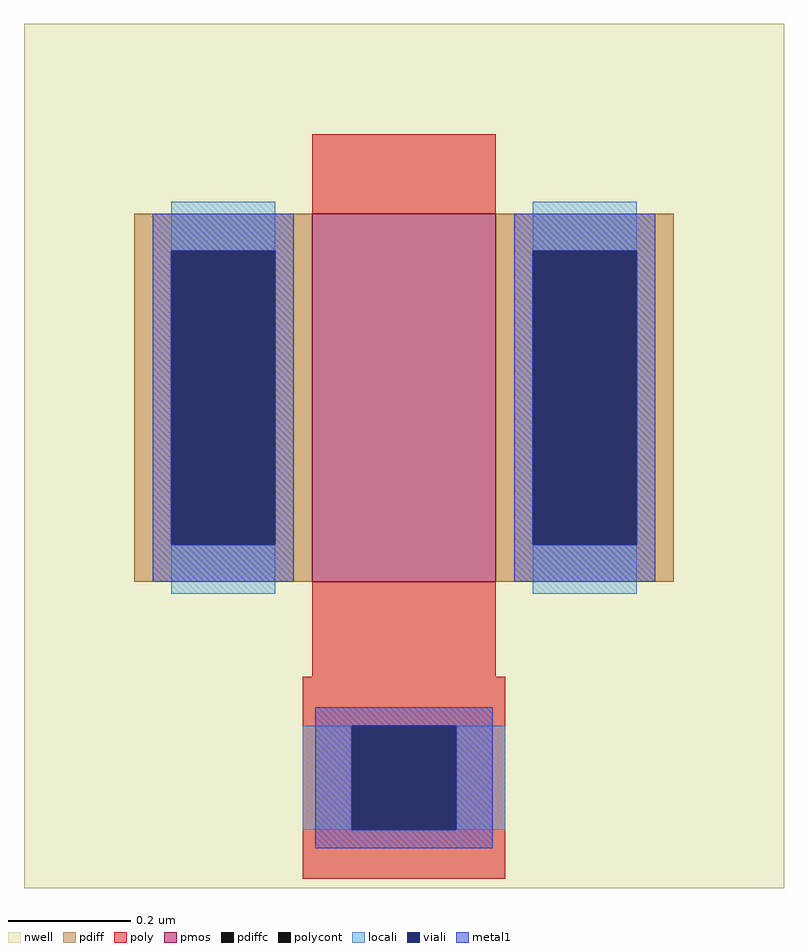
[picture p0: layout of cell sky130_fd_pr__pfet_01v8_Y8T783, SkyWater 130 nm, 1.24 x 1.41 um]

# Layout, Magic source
magic
tech sky130A
magscale 1 2
<< nwell >>
rect -124 -124 124 158
<< pmos >>
rect -30 -24 30 96
<< pdiff >>
rect -88 84 -30 96
rect -88 -12 -76 84
rect -42 -12 -30 84
rect -88 -24 -30 -12
rect 30 84 88 96
rect 30 -12 42 84
rect 76 -12 88 84
rect 30 -24 88 -12
<< pdiffc >>
rect -76 -12 -42 84
rect 42 -12 76 84
<< poly >>
rect -30 96 30 122
rect -30 -55 30 -24
rect -33 -71 33 -55
rect -33 -105 -17 -71
rect 17 -105 33 -71
rect -33 -121 33 -105
<< polycont >>
rect -17 -105 17 -71
<< locali >>
rect -76 84 -42 100
rect -76 -28 -42 -12
rect 42 84 76 100
rect 42 -28 76 -12
rect -33 -105 -17 -71
rect 17 -105 33 -71
<< viali >>
rect -76 -12 -42 84
rect 42 -12 76 84
rect -17 -105 17 -71
<< metal1 >>
rect -82 84 -36 96
rect -82 -12 -76 84
rect -42 -12 -36 84
rect -82 -24 -36 -12
rect 36 84 82 96
rect 36 -12 42 84
rect 76 -12 82 84
rect 36 -24 82 -12
rect -29 -71 29 -65
rect -29 -105 -17 -71
rect 17 -105 29 -71
rect -29 -111 29 -105
<< properties >>
string gencell sky130_fd_pr__pfet_01v8
string library sky130
string parameters w 0.6 l 0.3 m 1 nf 1 diffcov 100 polycov 100 guard 0 glc 1 grc 1 gtc 1 gbc 1 tbcov 100 rlcov 100 topc 0 botc 1 poverlap 0 doverlap 1 lmin 0.15 wmin 0.42 compatible {sky130_fd_pr__pfet_01v8  sky130_fd_pr__pfet_01v8_lvt sky130_fd_pr__pfet_01v8_hvt  sky130_fd_pr__pfet_g5v0d10v5} full_metal 1 viasrc 100 viadrn 100 viagate 100 viagb 0 viagr 0 viagl 0 viagt 0
<< end >>
